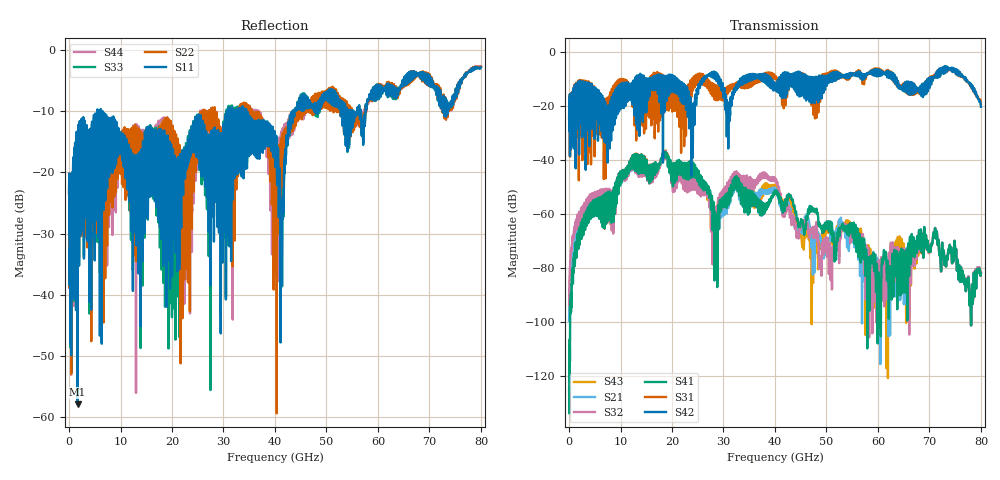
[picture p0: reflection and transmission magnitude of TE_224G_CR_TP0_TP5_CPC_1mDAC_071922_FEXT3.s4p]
!! Reference: tracy_3df_01_2211
!! CHANNEL DESCRIPTION: TP0_TP5 CR Channel using 1meter DAC, CoPackage Copper Host
!! MODEL DESCRIPTION: s4p, FEXT3
!! CONNECTOR DESCRIPTION: OSFP 200G OTB
!! CABLE DESCRIPTION: 1meter 26AWG Cable
!! MODEL STATUS: Developmental
!! PORT DEFINITIONS:
!! Port  1  ----->  Side A  Side B  <-----  Port  2
!! Port  3  ----->  Side A  Side B  <-----  Port  4
# Hz S MA R 50
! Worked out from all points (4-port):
!   8000 points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, 10 MHz to 80 GHz, reference 50 ohm
!   strongest paths, dB at 10 MHz, 20.01 GHz, 40.01 GHz, 60.01 GHz, 80 GHz:
!     S42: -24.7, -14.1, -14.2, -8.9, -20.3
!     S31: -24.6, -20.2, -10.1, -8.2, -19.3
!     S41: -125.8, -41.4, -52.0, -87.4, -82.0
!     S32: -93.6, -42.2, -47.9, -85.3, -81.6
!     S21: -99.7, -41.6, -51.4, -92.7, -81.7
!     S43: -99.4, -41.9, -50.5, -93.0, -82.0
!   lowest |S11| = -57.8 dB at 1.64 GHz (marker M1), VSWR 1.00, Z = 49.9 - j0.00396 ohm
!   |S11| at or under -10 dB: start of sweep to 5.488 GHz; 6.171 GHz to 30.97 GHz (24.8 GHz wide, 134 % of centre); 34.4 GHz to 43.55 GHz (9.158 GHz wide, 23.5 % of centre)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
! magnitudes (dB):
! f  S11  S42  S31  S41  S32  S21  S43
! 10 MHz  -23.3  -24.7  -24.6  -125.8  -93.6  -99.7  -99.4
! 1.64 GHz  -57.8  -21.1  -19.6  -68.2  -61.7  -65.2  -65.0
! 18.6 GHz  -27.9  -19.4  -13.7  -37.5  -38.1  -37.9  -37.6
! 28.55 GHz  -15.3  -9.3  -16.9  -67.8  -64.0  -66.3  -60.4
! 38.1 GHz  -12.6  -11.5  -9.9  -59.0  -44.8  -51.5  -49.1
! 48.85 GHz  -7.9  -10.3  -10.7  -64.7  -76.0  -69.4  -69.2
! 80 GHz  -2.9  -20.3  -19.3  -82.0  -81.6  -81.7  -82.0
